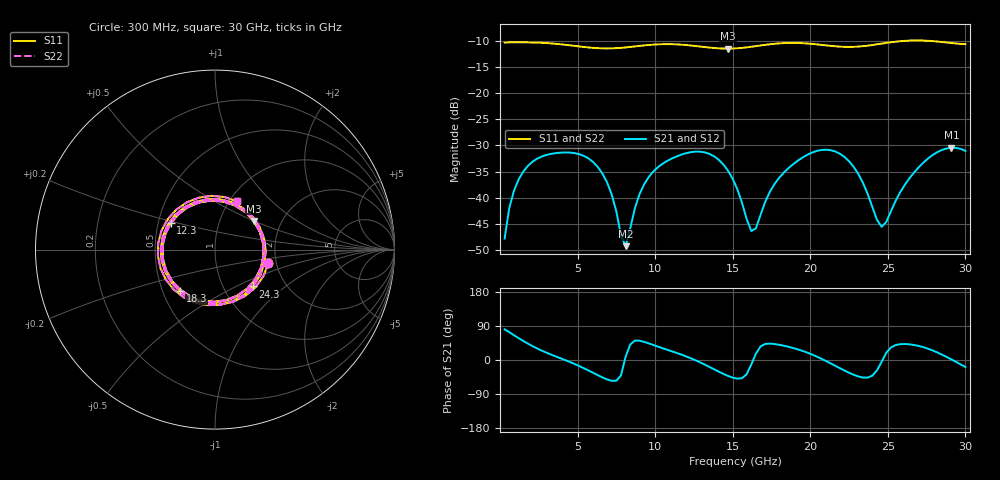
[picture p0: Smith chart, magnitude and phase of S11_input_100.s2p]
! Created Tue Apr 13 08:52:46 2021
# hz S ri R 50
! 2 Port Network Data from SP1.SP block
! freq  reS11  imS11  reS21  imS21  reS12  imS12  reS22  imS22
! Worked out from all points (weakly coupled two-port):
!   100 points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, 300 MHz to 30 GHz, reference 50 ohm
!   highest |S21| = -30.44 dB at 29.1 GHz (marker M1); lowest = -49.3 dB at 8.1 GHz (marker M2)
!   lowest |S11| = -11.4 dB at 14.7 GHz (marker M3), VSWR 1.73, Z = 72.4 + j24.9 ohm
!   |S11| at or under -10 dB: start of sweep to 25.87 GHz; 27.89 GHz to end of sweep
!   |S22| runs from -11.4 to -9.9 dB; largest |S21 - S12| = 0
!   S11 on the Smith chart (normalised r, x): 300 MHz: 1.82, -0.30; 12.3 GHz: 0.58, +0.19; 18.3 GHz: 0.61, -0.31; 24.3 GHz: 1.38, -0.62; 30 GHz: 1.08, +0.64
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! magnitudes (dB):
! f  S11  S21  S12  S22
! 300 MHz  -10.3  -47.9  -47.9  -10.3
! 900 MHz  -10.2  -38.7  -38.7  -10.2
! 1.8 GHz  -10.2  -33.9  -33.9  -10.2
! 3.3 GHz  -10.4  -31.6  -31.6  -10.4
! 5.4 GHz  -11.1  -32.0  -32.0  -11.1
! 6.9 GHz  -11.4  -37.1  -37.1  -11.4
! 8.1 GHz  -11.2  -49.3  -49.3  -11.2
! 9 GHz  -10.9  -39.3  -39.3  -10.9
! 10.2 GHz  -10.6  -34.1  -34.1  -10.6
! 12.3 GHz  -10.8  -31.3  -31.3  -10.8
! 14.7 GHz  -11.4  -34.8  -34.8  -11.4
! 15.3 GHz  -11.4  -38.4  -38.4  -11.4
! 16.2 GHz  -11.1  -46.4  -46.4  -11.1
! 18.3 GHz  -10.4  -35.2  -35.2  -10.4
! 20.1 GHz  -10.5  -31.4  -31.4  -10.5
! 22.5 GHz  -11.1  -33.0  -33.0  -11.1
! 24.3 GHz  -10.6  -44.3  -44.3  -10.6
! 24.6 GHz  -10.5  -45.6  -45.6  -10.5
! 25.2 GHz  -10.2  -42.6  -42.6  -10.2
! 27 GHz  -9.9  -34.2  -34.2  -9.9
! 29.1 GHz  -10.4  -30.4  -30.4  -10.4
! 30 GHz  -10.6  -31.0  -31.0  -10.6
